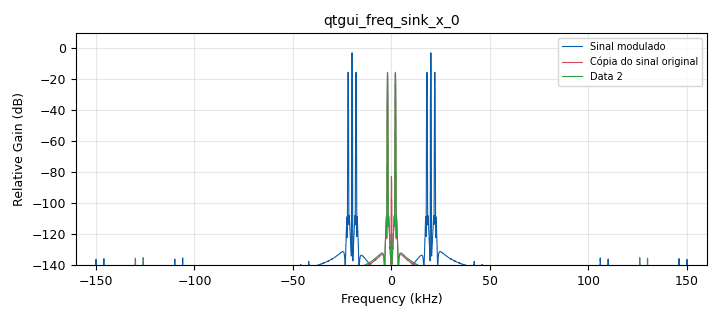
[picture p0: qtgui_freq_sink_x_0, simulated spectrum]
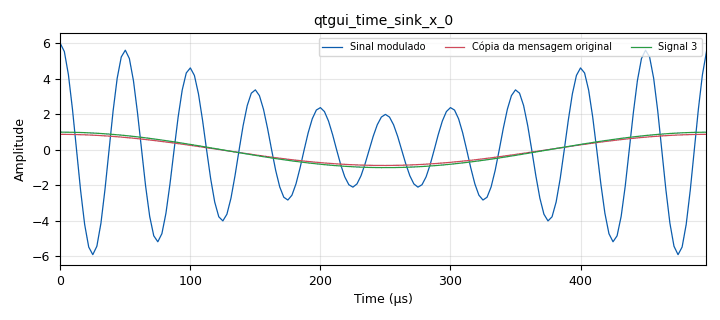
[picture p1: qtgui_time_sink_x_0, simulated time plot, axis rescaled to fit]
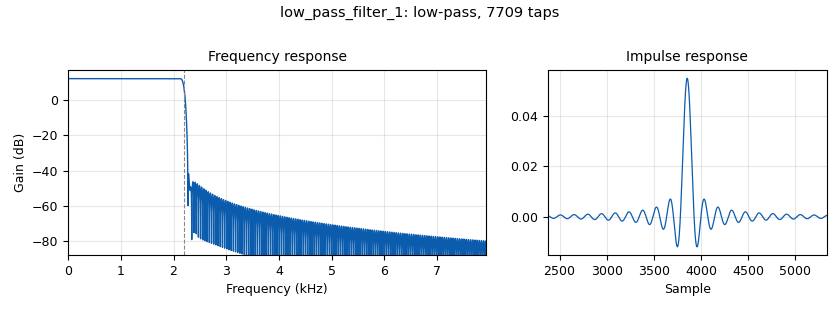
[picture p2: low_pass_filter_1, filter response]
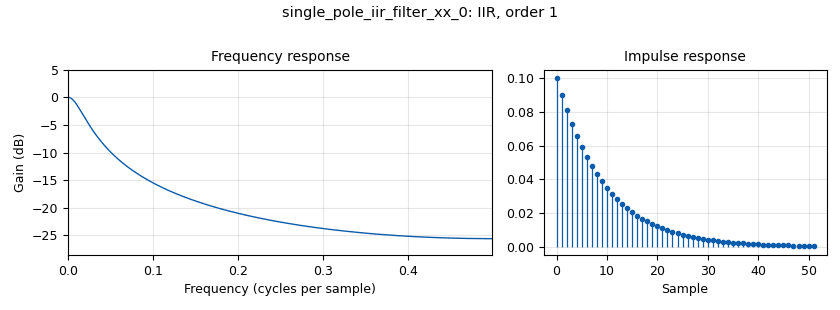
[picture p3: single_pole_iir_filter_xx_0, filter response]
options:
  parameters:
    author: luso
    generate_options: qt_gui
    id: ex3
    output_language: python
    title: Ex_3
  states: {}

blocks:
- name: alpha
  id: variable_qtgui_entry
  parameters:
    type: real
    value: '0.1'
  states: {}
- name: amp
  id: variable_qtgui_entry
  parameters:
    type: real
    value: '2'
  states: {}
- name: f_c
  id: variable_qtgui_entry
  parameters:
    type: real
    value: '20000'
  states: {}
- name: freq
  id: variable_qtgui_entry
  parameters:
    type: real
    value: '2000'
  states: {}
- name: samp_rate
  id: variable
  parameters:
    value: '320000'
  states: {}
- name: analog_sig_source_x_0
  id: analog_sig_source_x
  parameters:
    amp: '1'
    freq: freq
    offset: '0'
    phase: '0'
    samp_rate: samp_rate
    type: float
    waveform: analog.GR_COS_WAVE
  states: {}
- name: analog_sig_source_x_0_0
  id: analog_sig_source_x
  parameters:
    amp: amp
    freq: f_c
    offset: '0'
    phase: '0'
    samp_rate: samp_rate
    type: float
    waveform: analog.GR_COS_WAVE
  states: {}
- name: analog_sig_source_x_0_0_0
  id: analog_sig_source_x
  parameters:
    amp: '1'
    freq: f_c
    offset: '0'
    phase: '0'
    samp_rate: samp_rate
    type: float
    waveform: analog.GR_COS_WAVE
  states: {}
- name: analog_sig_source_x_1
  id: analog_sig_source_x
  parameters:
    amp: '2'
    freq: '0'
    offset: '0'
    phase: '0'
    samp_rate: samp_rate
    type: float
    waveform: analog.GR_CONST_WAVE
  states: {}
- name: blocks_add_xx_0
  id: blocks_add_xx
  parameters:
    type: float
  states: {}
- name: blocks_delay_0
  id: blocks_delay
  parameters:
    delay: '75'
    type: float
  states: {}
- name: blocks_multiply_xx_0
  id: blocks_multiply_xx
  parameters:
    type: float
  states: {}
- name: blocks_multiply_xx_0_0
  id: blocks_multiply_xx
  parameters:
    type: float
  states: {}
- name: blocks_throttle_0
  id: blocks_throttle
  parameters:
    samples_per_second: samp_rate
    type: float
  states: {}
- name: dc_blocker_xx_0
  id: dc_blocker_xx
  parameters:
    length: '32'
    long_form: 'True'
    type: ff
  states: {}
- name: import_0
  id: import
  parameters:
    imports: import numpy as np
  states: {}
- name: low_pass_filter_0
  id: low_pass_filter
  parameters:
    cutoff_freq: freq*2
    gain: '1'
    interp: '1'
    samp_rate: samp_rate
    type: interp_fir_filter_fff
    width: '1'
    win: window.WIN_RECTANGULAR
  states: {state: disabled}
- name: low_pass_filter_1
  id: low_pass_filter
  parameters:
    cutoff_freq: freq+freq/10
    decim: '1'
    gain: '4'
    samp_rate: samp_rate
    type: fir_filter_fff
    width: freq/20
    win: window.WIN_HAMMING
  states: {}
- name: pi2
  id: epy_module
  parameters:
    source_code: "# this module will be imported in the into your flowgraph\r\n\r\nimport numpy as np\r\n\r\npi = np.pi\r\ndef pix(arg):\r\n\r\n\r\n\treturn pi2*arg"
  states: {}
- name: qtgui_freq_sink_x_0
  id: qtgui_freq_sink_x
  parameters:
    bw: samp_rate
    ctrlpanel: 'True'
    fc: '0'
    fftsize: '4096'
    label1: Sinal modulado
    label2: Cópia do sinal original
    nconnections: '3'
    type: float
  states: {}
- name: qtgui_time_sink_x_0
  id: qtgui_time_sink_x
  parameters:
    ctrlpanel: 'True'
    label1: Sinal modulado
    label2: Cópia da mensagem original
    nconnections: '3'
    size: round(samp_rate/freq)
    srate: samp_rate
    type: float
  states: {}
- name: single_pole_iir_filter_xx_0
  id: single_pole_iir_filter_xx
  parameters:
    alpha: alpha
    type: float
  states: {}

connections:
- [analog_sig_source_x_0, '0', blocks_add_xx_0, '1']
- [analog_sig_source_x_0, '0', qtgui_freq_sink_x_0, '2']
- [analog_sig_source_x_0, '0', qtgui_time_sink_x_0, '2']
- [analog_sig_source_x_0_0, '0', blocks_multiply_xx_0, '1']
- [analog_sig_source_x_0_0_0, '0', blocks_multiply_xx_0_0, '1']
- [analog_sig_source_x_1, '0', blocks_add_xx_0, '0']
- [blocks_add_xx_0, '0', blocks_multiply_xx_0, '0']
- [blocks_delay_0, '0', qtgui_freq_sink_x_0, '1']
- [blocks_delay_0, '0', qtgui_time_sink_x_0, '1']
- [blocks_multiply_xx_0, '0', blocks_multiply_xx_0_0, '0']
- [blocks_multiply_xx_0, '0', blocks_throttle_0, '0']
- [blocks_multiply_xx_0_0, '0', low_pass_filter_0, '0']
- [blocks_multiply_xx_0_0, '0', single_pole_iir_filter_xx_0, '0']
- [blocks_throttle_0, '0', qtgui_freq_sink_x_0, '0']
- [blocks_throttle_0, '0', qtgui_time_sink_x_0, '0']
- [dc_blocker_xx_0, '0', low_pass_filter_1, '0']
- [low_pass_filter_0, '0', qtgui_freq_sink_x_0, '1']
- [low_pass_filter_0, '0', qtgui_time_sink_x_0, '1']
- [low_pass_filter_1, '0', blocks_delay_0, '0']
- [single_pole_iir_filter_xx_0, '0', dc_blocker_xx_0, '0']

metadata:
  file_format: 1
  grc_version: 3.10.10.0
